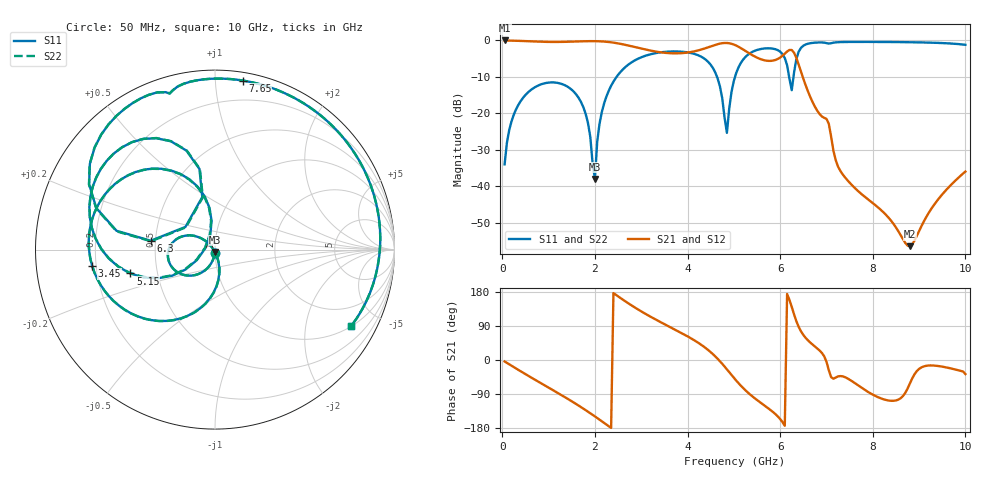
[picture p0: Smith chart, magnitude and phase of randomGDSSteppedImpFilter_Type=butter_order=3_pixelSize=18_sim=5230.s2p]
! freq	dB(S11)	phase(S11)	dB(S12)	phase(S12)
!  dB(S21)	phase(S21)	dB(S22)	phase(S22)
!S-par simulation data
#  GHz  S  DB  R 50
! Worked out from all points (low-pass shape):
!   200 points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, 50 MHz to 10 GHz, reference 50 ohm
!   highest |S21| = -0.01 dB at 50 MHz (marker M1); lowest = -56.4 dB at 8.8 GHz (marker M2)
!   |S21| within 3 dB of the highest: start of sweep to 3.293 GHz; 4.14 GHz to 5.265 GHz (1.126 GHz wide, 23.9 % of centre) (the widest 2 of 3)
!   lowest |S11| = -38.0 dB at 2 GHz (marker M3), VSWR 1.03, Z = 49.8 - j1.24 ohm
!   |S11| at or under -10 dB: start of sweep to 2.468 GHz; 4.637 GHz to 5.026 GHz (388.5 MHz wide, 8.04 % of centre); 6.194 GHz to 6.288 GHz (93.88 MHz wide, 1.5 % of centre)
!   |S22| runs from -38.4 to -0.4 dB; largest |S21 - S12| = 0
!   S11 on the Smith chart (normalised r, x): 50 MHz: 1.00, -0.04; 3.45 GHz: 0.18, -0.06; 5.15 GHz: 0.35, -0.12; 6.3 GHz: 0.47, +0.05; 7.65 GHz: 0.06, +1.18; 10 GHz: 1.02, -3.57
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0.05  -33.98 -93.5  -0.01 -3.8  -0.01 -3.8  -34.01 -93.6
0.25  -20.29 -109.1  -0.07 -18.9  -0.07 -18.9  -20.30 -109.0
0.65  -13.28 -138.5  -0.28 -48.1  -0.28 -48.1  -13.28 -138.5
1.75  -18.30 143.9  -0.23 -128.3  -0.23 -128.3  -18.31 143.5
2  -37.97 -99.5  -0.20 -148.9  -0.20 -148.9  -38.37 -95.7
2.1  -22.80 -74.4  -0.24 -157.4  -0.24 -157.4  -22.81 -73.6
2.35  -12.44 -91.9  -0.51 -179.2  -0.51 -179.2  -12.44 -91.6
3.4  -3.30 -169.3  -3.22 101.1  -3.22 101.1  -3.30 -169.2
3.45  -3.22 -172.4  -3.31 97.9  -3.31 97.9  -3.22 -172.3
4.5  -6.67 114.6  -1.64 20.8  -1.64 20.8  -6.67 114.9
4.85  -25.35 171.0  -0.70 -24.6  -0.70 -24.6  -24.89 170.3
5.05  -8.96 -153.3  -1.40 -54.1  -1.40 -54.1  -8.95 -153.8
5.15  -6.19 -164.3  -2.09 -67.7  -2.09 -67.7  -6.19 -164.6
5.95  -2.67 123.0  -5.08 -149.0  -5.08 -149.0  -2.67 122.9
6.2  -10.43 103.6  -2.61 158.8  -2.61 158.8  -10.49 103.1
6.3  -8.84 172.1  -3.37 120.5  -3.37 120.5  -8.89 172.6
6.45  -2.04 152.5  -8.58 75.6  -8.58 75.6  -2.05 152.7
6.7  -0.67 126.3  -16.90 40.7  -16.90 40.7  -0.67 126.4
7.65  -0.40 80.7  -40.93 -64.2  -40.93 -64.2  -0.40 80.8
8.35  -0.43 52.4  -48.74 -107.1  -48.74 -107.1  -0.43 52.6
8.8  -0.49 33.8  -56.42 -62.3  -56.42 -62.3  -0.49 34.0
10  -1.20 -29.2  -35.96 -37.1  -35.96 -37.1  -1.21 -29.2
